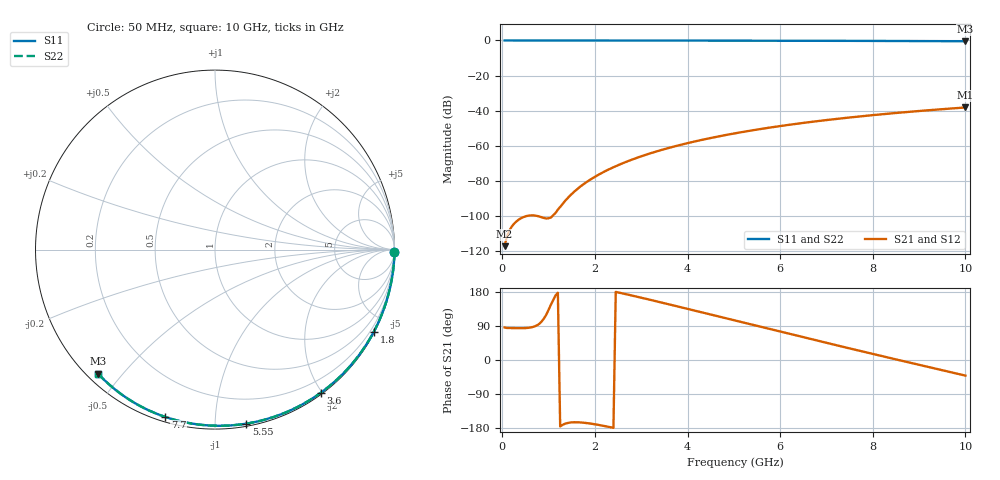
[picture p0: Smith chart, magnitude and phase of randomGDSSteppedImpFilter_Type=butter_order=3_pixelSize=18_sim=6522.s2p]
! freq	dB(S11)	phase(S11)	dB(S12)	phase(S12)
!  dB(S21)	phase(S21)	dB(S22)	phase(S22)
!S-par simulation data
#  GHz  S  DB  R 50
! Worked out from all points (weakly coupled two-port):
!   200 points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, 50 MHz to 10 GHz, reference 50 ohm
!   highest |S21| = -38.25 dB at 10 GHz (marker M1); lowest = -117.4 dB at 50 MHz (marker M2)
!   lowest |S11| = -0.4 dB at 10 GHz (marker M3), VSWR 39.01, Z = 1.52 - j21.6 ohm
!   |S11| at or under -10 dB: nowhere
!   |S22| runs from -0.4 to 0.0 dB; largest |S21 - S12| = 0
!   S11 on the Smith chart (normalised r, x): 50 MHz: open; 1.8 GHz: 0.04, -4.11; 3.6 GHz: 0.02, -1.99; 5.55 GHz: 0.02, -1.20; 7.7 GHz: 0.02, -0.75; 10 GHz: 0.03, -0.43
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0.05  -0.00 -0.8  -117.38 85.8  -117.38 85.8  -0.00 -0.8
0.45  -0.01 -6.9  -100.85 84.0  -100.85 84.0  -0.01 -6.9
0.9  -0.02 -13.8  -101.30 109.8  -101.30 109.8  -0.02 -13.8
1.75  -0.03 -26.6  -82.10 -165.4  -82.10 -165.4  -0.03 -26.6
1.8  -0.03 -27.3  -81.16 -166.0  -81.16 -166.0  -0.03 -27.3
1.85  -0.04 -28.1  -80.27 -166.8  -80.27 -166.8  -0.04 -28.1
1.9  -0.04 -28.8  -79.41 -167.7  -79.41 -167.7  -0.04 -28.8
2.05  -0.04 -31.1  -77.03 -170.6  -77.03 -170.6  -0.04 -31.1
2.25  -0.04 -34.0  -74.22 -175.3  -74.22 -175.3  -0.04 -34.0
2.65  -0.05 -39.9  -69.52 174.3  -69.52 174.3  -0.05 -39.9
3  -0.06 -44.9  -66.11 164.4  -66.11 164.4  -0.06 -44.9
3.4  -0.07 -50.6  -62.77 152.8  -62.77 152.8  -0.07 -50.6
3.6  -0.07 -53.5  -61.28 146.9  -61.28 146.9  -0.07 -53.5
4.3  -0.09 -63.2  -56.78 125.9  -56.78 125.9  -0.09 -63.2
5.05  -0.11 -73.3  -52.86 103.4  -52.86 103.4  -0.11 -73.3
5.55  -0.13 -79.8  -50.64 88.3  -50.64 88.3  -0.13 -79.8
6.1  -0.15 -86.9  -48.47 71.9  -48.47 71.9  -0.15 -86.9
6.7  -0.18 -94.4  -46.38 54.1  -46.38 54.1  -0.18 -94.4
7.7  -0.24 -106.5  -43.40 24.7  -43.40 24.7  -0.24 -106.5
8.35  -0.29 -114.2  -41.74 5.9  -41.74 5.9  -0.29 -114.2
9.15  -0.36 -123.5  -39.93 -17.0  -39.93 -17.0  -0.36 -123.5
10  -0.45 -133.3  -38.25 -41.2  -38.25 -41.2  -0.45 -133.3
